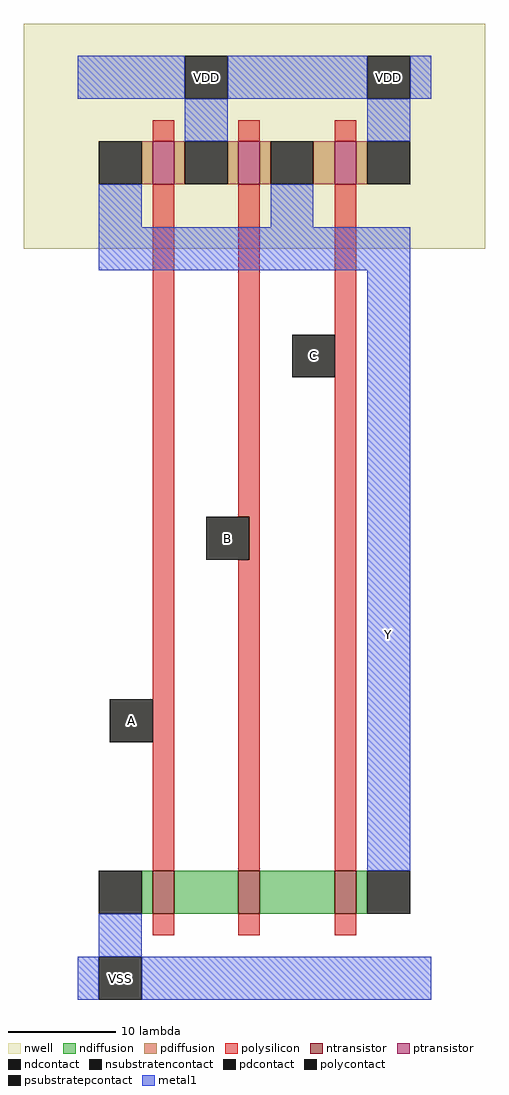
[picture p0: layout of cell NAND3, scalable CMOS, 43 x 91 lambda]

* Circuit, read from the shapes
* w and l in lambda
.subckt NAND3 A B C VDD VSS Y
M1 n1 A VSS VSS nfet w=4 l=2
M2 n2 B n1 VSS nfet w=4 l=2
M3 Y C n2 VSS nfet w=4 l=2
M4 VDD A Y VDD pfet w=4 l=2
M5 Y B VDD VDD pfet w=4 l=2
M6 VDD C Y VDD pfet w=4 l=2
.ends

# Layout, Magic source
magic
tech scmos
<< nwell >>
rect -5 70 38 91
<< ntransistor >>
rect 7 8 9 12
rect 15 8 17 12
rect 24 8 26 12
<< ptransistor >>
rect 7 76 9 80
rect 15 76 17 80
rect 24 76 26 80
<< ndiffusion >>
rect 6 8 7 12
rect 9 8 15 12
rect 17 8 24 12
rect 26 8 27 12
<< pdiffusion >>
rect 6 76 7 80
rect 9 76 10 80
rect 14 76 15 80
rect 17 76 18 80
rect 22 76 24 80
rect 26 76 27 80
<< ndcontact >>
rect 2 8 6 12
rect 27 8 31 12
<< pdcontact >>
rect 2 76 6 80
rect 10 76 14 80
rect 18 76 22 80
rect 27 76 31 80
<< psubstratepcontact >>
rect 2 0 6 4
<< nsubstratencontact >>
rect 10 84 14 88
rect 27 84 31 88
<< polysilicon >>
rect 7 80 9 82
rect 15 80 17 82
rect 24 80 26 82
rect 7 12 9 76
rect 15 45 17 76
rect 16 41 17 45
rect 15 12 17 41
rect 24 12 26 76
rect 7 6 9 8
rect 15 6 17 8
rect 24 6 26 8
<< polycontact >>
rect 3 24 7 28
rect 20 58 24 62
rect 12 41 16 45
<< metal1 >>
rect 0 84 10 88
rect 14 84 27 88
rect 31 84 33 88
rect 10 80 14 84
rect 27 80 31 84
rect 2 72 6 76
rect 18 72 22 76
rect 2 68 31 72
rect 27 12 31 68
rect 2 4 6 8
rect 0 0 2 4
rect 6 0 33 4
<< labels >>
rlabel nsubstratencontact 12 86 12 86 1 VDD
rlabel nsubstratencontact 29 86 29 86 1 VDD
rlabel polycontact 5 26 5 26 1 A
rlabel polycontact 14 43 14 43 1 B
rlabel polycontact 22 60 22 60 1 C
rlabel metal1 29 34 29 34 1 Y
rlabel psubstratepcontact 4 2 4 2 1 VSS
<< end >>
